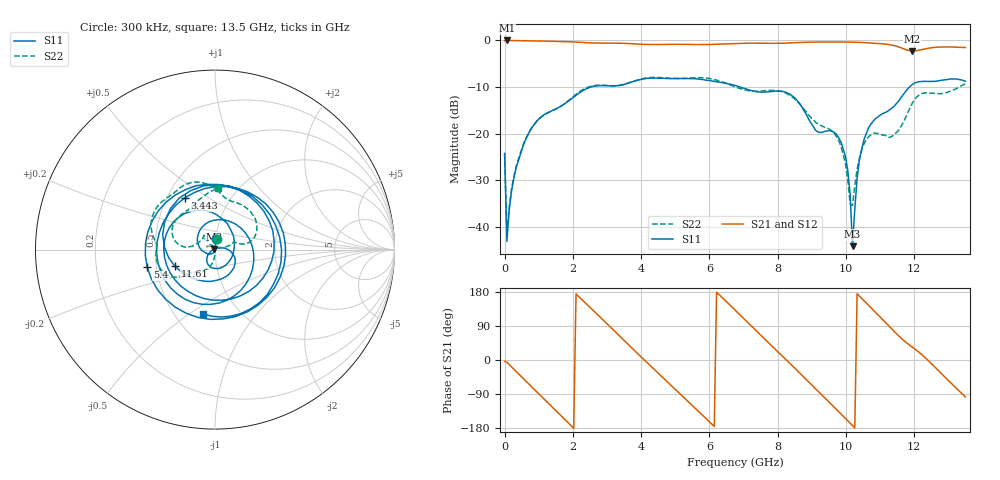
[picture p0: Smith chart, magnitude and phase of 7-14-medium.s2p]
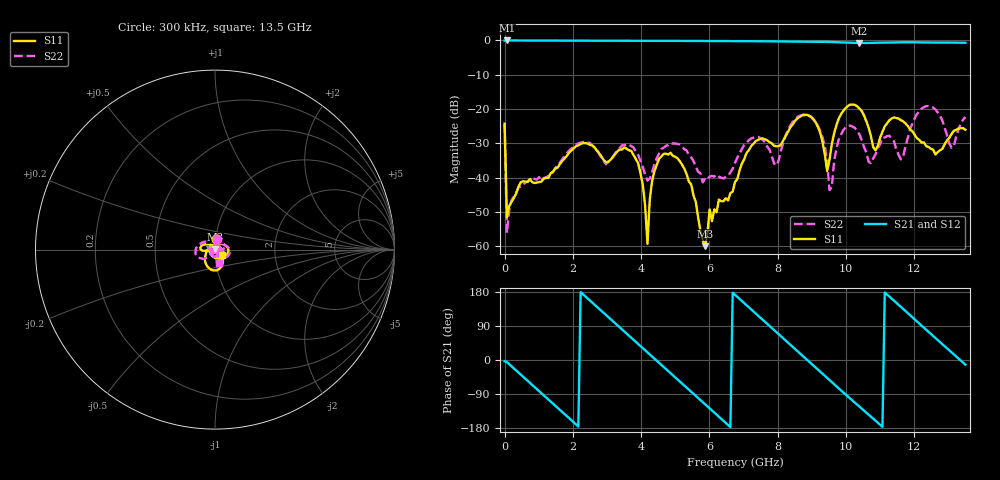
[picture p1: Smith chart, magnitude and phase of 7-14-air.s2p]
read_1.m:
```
%close all
%clc
%clear

eps0=8.85418782e-12;
mu0=1.2566370614e-6;
c0=1/sqrt(eps0*mu0);

medium_file = '7-14-medium.s2p';
frequency = dlmread(medium_file,' ',9,0,[9 0 209 0])/1e9;
med_mag11 = dlmread(medium_file,' ',9,1,[9 1 209 1]);
med_phase11 = dlmread(medium_file,' ',9,2,[9 2 209 2]);
med_mag21 = dlmread(medium_file,' ',9,3,[9 3 209 3]);
med_phase21 = dlmread(medium_file,' ',9,4,[9 4 209 4]);
med_mag12 = dlmread(medium_file,' ',9,5,[9 5 209 5]);
med_phase12 = dlmread(medium_file,' ',9,6,[9 6 209 6]);
med_mag22 = dlmread(medium_file,' ',9,7,[9 7 209 7]);
med_phase22 = dlmread(medium_file,' ',9,8,[9 8 209 8]);
med=complex((10.^(med_mag21/20)).*exp(1i*med_phase21/180*pi));




air_file = '7-14-air.s2p';
frequency = dlmread(air_file,' ',9,0,[9 0 209 0])/1e9;
air_mag11 = dlmread(air_file,' ',9,1,[9 1 209 1]);
air_phase11 = dlmread(air_file,' ',9,2,[9 2 209 2]);
air_mag21 = dlmread(air_file,' ',9,3,[9 3 209 3]);
air_phase21 = dlmread(air_file,' ',9,4,[9 4 209 4]);
air_mag12 = dlmread(air_file,' ',9,5,[9 5 209 5]);
air_phase12 = dlmread(air_file,' ',9,6,[9 6 209 6]);
air_mag22 = dlmread(air_file,' ',9,7,[9 7 209 7]);
air_phase22 = dlmread(air_file,' ',9,8,[9 8 209 8]);
air=complex((10.^(air_mag21/20)).*exp(1i*air_phase21/180*pi));





% plot(10.^(air_mag21/20))
% hold on
% plot(10.^(med_mag21/20))
% 
% figure
% plot(frequency,(10.^(med_mag21/20))./(10.^(air_mag21/20)))

% plot(real(air))
% hold on
% plot(imag(air))
% plot(real(med))
% plot(imag(med))

figure(1)
plot(frequency,abs(med./air))
hold on
grid on
time_air=ifft(air,8000);
time_med=ifft(med,8000);

figure(2)
plot(abs(time_air))
hold on
plot(abs(time_med))
xlim([1 2001])

[tt,c1]=max(abs(time_air));
t=zeros(length(time_air),1);
t(:,1)=1:1:length(t);
t_win=exp(-(t-c1).^2/25000);
figure(2)
plot(t_win*tt,'g--','linewidth',2)
xlim([1 500])



time_air_filter=t_win.*time_air;
time_med_filter=t_win.*time_med;
figure(3)
plot(abs(time_air_filter))
hold on
plot(abs(time_med_filter))
xlim([1 2001])


air2=fft(time_air_filter);
med2=fft(time_med_filter);

air3=air2(1:201);
med3=med2(1:201);

beta=2*pi*frequency*1e9/c0;
med4=med3./air3.*exp(-1i*beta*20e-3);

figure(1)
plot(frequency,abs(med4))
hold on

figure(5)
plot(frequency,angle(med4)/pi*180)
hold on

d=10e-3;
fa=frequency*1e9;
for iy=1:length(fa)
    
    z=0;
    f=fa(iy);
    w=2*pi*f;
    
    e0=1;
    
e1=(2.3-1i*0);
% e1=900;
    e2=1;
    
    n0=1;
    n1=sqrt(e1);
    n2=1;
    
    th0=0;
    th1=asin(1/n1*n0*sin(th0));
    th2=asin(1/n2*n0*sin(th0));
    
    neta0=sqrt(mu0/eps0)/n0;
    neta1=sqrt(mu0/eps0)/n1;
    neta2=sqrt(mu0/eps0)/n2;
    
    F01=(neta1/cos(th1)-neta0/cos(th0))./(neta1/cos(th1)+neta0/cos(th0));
    F10=-F01;
    F12=(neta2/cos(th2)-neta1/cos(th1))./(neta2/cos(th2)+neta1/cos(th1));
    T01=1+F01;
    T10=1-F01;
    T12=1+F12;
    
    
    L0=c0/f/n0;
    L1=L0/n1;
    L2=L0/n2;
    
    B0=2*pi/L0;
    BB0(iy)=B0;

    
    B1=2*pi/L1;
    B2=2*pi/L2;
    E0r(iy)=exp(1i*B0*z*cos(th0))*(F01+T01*F12*T10*exp(-1i*2*B1*d*cos(th1))/(1-F12*F10*exp(-1i*2*B1*d*cos(th1))));
    E0t(iy)=T01*T12*exp(-1i*B1*d*cos(th1))*exp(-1i*B0*(d-d)*cos(th0))/(1-F12*F10*exp(-1i*2*B1*d*cos(th1)));
    exp(-1i*B1*d*cos(th1));
    t12_a(iy,1)=exp(-1i*B0*230e-3);
    t21_a(iy,1)=exp(-1i*B0*230e-3);
    t11_a(iy,1)=0;
    t22_a(iy,1)=0;
%     
% 

% 
% 
% 
t11_true(iy,1)=E0r(iy);
t11_true2(iy,1)= F01;
t11_true3(iy,1)= F01-F01*(1-F01*F01)*exp(-1i*2*BB0(iy)*n1*d);

t12_true(iy,1)=E0t(iy);
t21_true(iy,1)=E0t(iy);    
t22_true(iy,1)=E0r(iy);    
end

figure(1)
plot(frequency,abs(t21_true))
grid on
legend('original','time domain filtering','theory')
figure(5)
plot(frequency,angle(t21_true)/pi*180)



grid on
```
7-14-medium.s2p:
!Agilent Technologies,N5230C,MY48100320,A.08.04.10
!Agilent N5230C: A.08.04.10
!Date: Friday, July 15, 2016 04:15:09
!Correction: S11(Full 2 Port(1,2))
!S21(Full 2 Port(1,2))
!S12(Full 2 Port(1,2))
!S22(Full 2 Port(1,2))
!S2P File: Measurements: S11, S21, S12, S22:
# Hz S  dB  R 50
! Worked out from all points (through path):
!   201 points, 300 kHz to 13.5 GHz, reference 50 ohm
!   highest |S21| = -0.01 dB at 67.8 MHz (marker M1); lowest = -2.3 dB at 11.95 GHz (marker M2)
!   group delay of S21, straight-line fit = 242 ps
!   lowest |S11| = -44.2 dB at 10.19 GHz (marker M3), VSWR 1.01, Z = 49.4 + j0.264 ohm
!   |S11| at or under -10 dB: start of sweep to 2.534 GHz; 6.893 GHz to 11.86 GHz (4.971 GHz wide, 53 % of centre)
!   |S22| runs from -41.6 to -7.9 dB; largest |S21 - S12| = 0.0058
!   S11 on the Smith chart (normalised r, x): 300 kHz: 1.01, +0.12; 3.443 GHz: 0.61, +0.40; 5.4 GHz: 0.44, -0.10; 11.61 GHz: 0.63, -0.12; 13.5 GHz: 0.69, -0.57
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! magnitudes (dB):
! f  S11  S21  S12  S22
! 300 kHz  -24.3  -0.1  0.0  -24.3
! 67.8 MHz  -43.2  0.0  0.0  -41.6
! 810.3 MHz  -18.6  -0.1  -0.1  -18.6
! 3.443 GHz  -9.5  -0.6  -0.6  -9.6
! 5.4 GHz  -8.2  -0.9  -0.9  -8.1
! 6.75 GHz  -9.7  -0.7  -0.7  -10.0
! 9.72 GHz  -20.2  -0.4  -0.3  -20.7
! 10.19 GHz  -44.2  -0.4  -0.4  -35.4
! 11.61 GHz  -12.3  -1.6  -1.6  -18.5
! 11.95 GHz  -9.5  -2.3  -2.3  -13.4
! 13.5 GHz  -8.8  -1.5  -1.5  -9.3
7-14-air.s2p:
!Agilent Technologies,N5230C,MY48100320,A.08.04.10
!Agilent N5230C: A.08.04.10
!Date: Friday, July 15, 2016 04:10:22
!Correction: S11(Full 2 Port(1,2))
!S21(Full 2 Port(1,2))
!S12(Full 2 Port(1,2))
!S22(Full 2 Port(1,2))
!S2P File: Measurements: S11, S21, S12, S22:
# Hz S  dB  R 50
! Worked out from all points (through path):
!   201 points, 300 kHz to 13.5 GHz, reference 50 ohm
!   highest |S21| = -0.01 dB at 67.8 MHz (marker M1); lowest = -0.8 dB at 10.4 GHz (marker M2)
!   group delay of S21, straight-line fit = 225 ps
!   lowest |S11| = -59.9 dB at 5.873 GHz (marker M3), VSWR 1.00, Z = 50 + j0.0954 ohm
!   |S11| at or under -10 dB: start of sweep to end of sweep
!   |S22| runs from -56.1 to -19.1 dB; largest |S21 - S12| = 0.0063
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300000  -24.24 83.4  -0.07 -3.4  -0.04 -3.7  -24.33 80.3
6.77985e7  -51.61 68.2  -0.01 -5.5  -0.01 -5.6  -56.06 58.3
2.092754e9  -30.83 -127.9  -0.07 -170.1  -0.07 -170.1  -30.42 -36.5
3.375225e9  -31.81 -53.2  -0.10 85.9  -0.10 85.9  -31.33 28.9
4.5227e9  -34.52 79.9  -0.13 -7.2  -0.13 -7.2  -33.01 102.0
5.87267e9  -59.95 108.3  -0.16 -116.7  -0.16 -116.8  -40.16 -137.2
6.75015e9  -41.22 129.3  -0.20 172.0  -0.20 172.0  -35.66 -11.4
8.775105e9  -21.80 175.7  -0.37 7.4  -0.37 7.5  -21.50 -13.2
1.039507e10  -19.80 -115.4  -0.75 -122.9  -0.74 -123.0  -27.35 -3.8
1.215003e10  -28.98 -134.7  -0.57 96.0  -0.56 95.9  -20.68 -148.3
1.35e10  -26.02 -33.6  -0.67 -12.3  -0.66 -12.4  -22.29 -71.7
